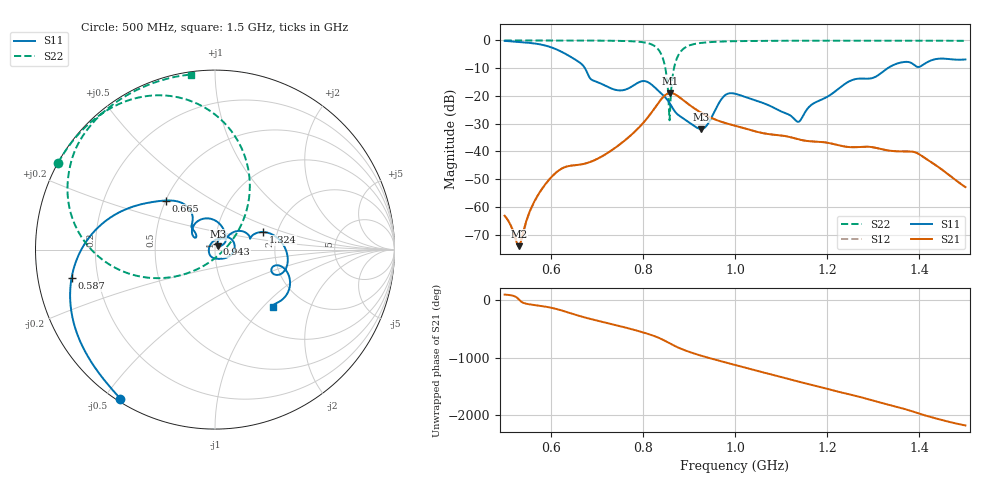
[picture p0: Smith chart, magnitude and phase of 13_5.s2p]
! TOUCHSTONE file generated by CST MICROWAVE STUDIO
! Date and time: Mon Oct 26 12:26:23 2020
! Project name: Scenario_1_Circular_Tissue_out_of_Line.cst
! Parameters = {dy1=-137.908; L_HA=400; MT=2.54; Rad_Dielectric=30; Rad_Lower=7.3; Rad_Upper=30; a_HA=580; a_WG=246; b_HA=500; b_WG=121; c_HA=0; c_WG=187; d_feed=85; dx1=866; h_feed=15; h_lower=18; h_upper=40}
! Header version: 2018
! Port assignment regex: !\s*Touchstone port\s*([0-9]+)\s*=\s*(CST MWS port|CST DS port)\s*([0-9]+|Zmin|Zmax)\s*\(\"(.*)\"\)(\s*mode\s*([0-9]+))?.*
! Touchstone port assignment:
! Touchstone port 1 = CST MWS port 1 ("")
! Touchstone port 2 = CST MWS port 2 ("")
# GHz S DB R 50
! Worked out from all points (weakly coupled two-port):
!   1001 points, 500 MHz to 1.5 GHz, reference 50 ohm
!   highest |S21| = -18.94 dB at 860 MHz (marker M1); lowest = -74.1 dB at 531 MHz (marker M2)
!   lowest |S11| = -31.9 dB at 927 MHz (marker M3), VSWR 1.05, Z = 51.7 + j1.9 ohm
!   |S11| at or under -10 dB: 674.4 MHz to 1.331 GHz (656.9 MHz wide, 65.5 % of centre)
!   |S22| runs from -28.8 to 0.0 dB; largest |S21 - S12| = 3e-05
!   S11 on the Smith chart (normalised r, x): 500 MHz: 0.01, -0.55; 587 MHz: 0.10, -0.10; 665 MHz: 0.50, +0.32; 943 MHz: 1.02, +0.06; 1.324 GHz: 1.69, +0.36; 1.5 GHz: 1.42, -1.14
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0.5  -0.14 -122.4  -63.14 97.7  -63.14 97.7  -0.01 151.1
0.531  -0.56 -135.6  -74.11 11.3  -74.12 15.9  -0.01 149.1
0.587  -1.78 -168.9  -52.12 -110.8  -52.16 -110.9  -0.02 145.1
0.665  -8.22 135.2  -44.70 78.9  -44.70 78.9  -0.04 138.5
0.667  -8.50 133.2  -44.64 74.3  -44.64 74.3  -0.04 138.3
0.73  -17.21 140.7  -39.83 -52.0  -39.83 -52.0  -0.11 130.8
0.779  -16.29 145.9  -33.41 -152.5  -33.41 -152.5  -0.32 120.7
0.834  -18.17 67.6  -22.47 65.6  -22.47 65.6  -3.35 83.3
0.848  -20.42 50.5  -19.78 12.2  -19.78 12.2  -9.28 56.5
0.86  -23.05 36.1  -18.94 -39.2  -18.94 -39.2  -21.95 -115.1
0.868  -25.24 32.5  -19.26 -72.4  -19.26 -72.4  -9.70 -151.1
0.879  -27.11 33.1  -20.41 -113.4  -20.41 -113.4  -4.76 -170.7
0.927  -31.92 46.2  -26.07 112.1  -26.07 112.1  -0.88 155.3
0.943  -29.57 67.3  -27.48 75.0  -27.48 75.0  -0.64 150.6
0.974  -20.44 48.1  -29.50 7.3  -29.50 7.3  -0.38 144.2
1  -19.19 4.8  -30.72 -48.6  -30.72 -48.6  -0.27 140.2
1.136  -29.31 175.2  -35.55 25.8  -35.55 25.8  -0.11 126.6
1.167  -23.06 61.1  -36.38 -34.7  -36.38 -34.7  -0.10 124.2
1.324  -10.87 20.0  -39.38 -1.2  -39.38 -1.2  -0.08 112.2
1.334  -9.71 15.3  -39.68 -21.8  -39.68 -21.8  -0.09 111.4
1.395  -9.48 -20.7  -40.55 -163.4  -40.55 -163.4  -0.10 106.7
1.5  -6.85 -44.4  -52.83 -21.5  -52.83 -21.4  -0.13 97.9
